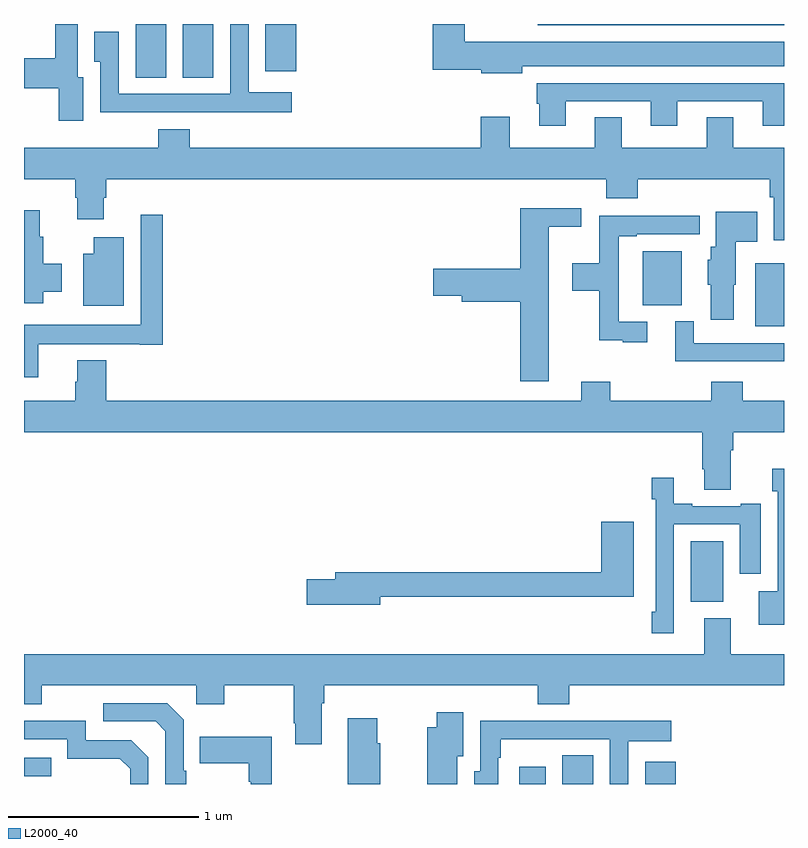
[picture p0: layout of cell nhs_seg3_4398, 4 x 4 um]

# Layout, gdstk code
import gdstk
lib = gdstk.Library(unit=1e-6, precision=1e-09)
def R(c, l, rs):  # rectangles x0, y0, x1, y1
    for r in rs: c.add(gdstk.rectangle(r[:2], r[2:], *l))
def P(c, l, *ps):  # polygons
    for p in ps: c.add(gdstk.Polygon(p, *l))
L2000_40 = (2000, 40)

nhs_seg3_4398 = lib.new_cell('nhs_seg3_4398')
R(nhs_seg3_4398, L2000_40, [(347.606,696.4,347.746,696.49), (347.834,696.4,347.995,696.551), (348.269,696.4,348.43,696.517), (345,696.441,345.143,696.537), (348.509,697.358,348.679,697.678), (348.848,698.81,349,699.142), (348.257,698.921,348.463,699.205), (345.587,700.117,345.748,700.4), (345.836,700.117,345.997,700.4), (346.271,700.152,346.432,700.4), (347.705,700.394,349,700.4)])
P(nhs_seg3_4398, L2000_40, [(345.623,699.936),(345.989,699.936),(345.989,699.935),(346.408,699.935),(346.408,700.042),(346.182,700.042),(346.182,700.4),(346.086,700.4),(346.086,700.032),(345.498,700.032),(345.498,700.36),(345.371,700.36),(345.371,700.201),(345.402,700.201),(345.402,699.935),(345.623,699.935)],
  [(345.313,700.119),(345.283,700.119),(345.283,700.4),(345.165,700.4),(345.165,700.221),(345,700.221),(345,700.061),(345.182,700.061),(345.182,699.891),(345.313,699.891)],
  [(347.623,700.178),(349,700.178),(349,700.306),(347.32,700.306),(347.32,700.4),(347.15,700.4),(347.15,700.16),(347.406,700.16),(347.406,700.142),(347.623,700.142)],
  [(347.851,699.993),(348.299,699.993),(348.299,699.864),(348.439,699.864),(348.439,699.993),(348.887,699.993),(348.887,699.864),(349,699.864),(349,700.089),(347.699,700.089),(347.699,699.981),(347.711,699.981),(347.711,699.864),(347.851,699.864)],
  [(349,699.748),(348.733,699.748),(348.733,699.908),(348.593,699.908),(348.593,699.748),(348.145,699.748),(348.145,699.908),(348.005,699.908),(348.005,699.748),(347.557,699.748),(347.557,699.913),(347.405,699.913),(347.405,699.748),(345.872,699.748),(345.872,699.847),(345.707,699.847),(345.707,699.748),(345,699.748),(345,699.584),(345.269,699.584),(345.269,699.486),(345.281,699.486),(345.281,699.372),(345.421,699.372),(345.421,699.486),(345.434,699.486),(345.434,699.584),(348.065,699.584),(348.065,699.482),(348.23,699.482),(348.23,699.584),(348.925,699.584),(348.925,699.488),(348.945,699.488),(348.945,699.261),(349,699.261)],
  [(347.761,699.332),(347.932,699.332),(347.932,699.43),(347.612,699.43),(347.612,699.111),(347.154,699.111),(347.154,698.969),(347.303,698.969),(347.303,698.939),(347.612,698.939),(347.612,698.52),(347.761,698.52)],
  [(345.1,698.99),(345.199,698.99),(345.199,699.138),(345.1,699.138),(345.1,699.279),(345.082,699.279),(345.082,699.421),(345,699.421),(345,698.931),(345.1,698.931)],
  [(348.736,699.027),(348.745,699.027),(348.745,699.254),(348.86,699.254),(348.86,699.412),(348.641,699.412),(348.641,699.228),(348.614,699.228),(348.614,699.159),(348.599,699.159),(348.599,699.027),(348.614,699.027),(348.614,698.844),(348.736,698.844)],
  [(345.074,698.714),(345.608,698.714),(345.608,698.712),(345.731,698.712),(345.731,699.397),(345.615,699.397),(345.615,698.818),(345,698.818),(345,698.54),(345.074,698.54)],
  [(348.28,698.832),(348.129,698.832),(348.129,699.282),(348.226,699.282),(348.226,699.294),(348.556,699.294),(348.556,699.392),(348.313,699.392),(348.313,699.39),(348.028,699.39),(348.028,699.142),(347.886,699.142),(347.886,698.995),(348.028,698.995),(348.028,698.735),(348.152,698.735),(348.152,698.724),(348.28,698.724)],
  [(345.526,699.277),(345.368,699.277),(345.368,699.19),(345.311,699.19),(345.311,698.918),(345.526,698.918)],
  [(349,698.721),(348.525,698.721),(348.525,698.836),(348.428,698.836),(348.428,698.625),(349,698.625)],
  [(348.721,698.156),(348.734,698.156),(348.734,698.252),(349,698.252),(349,698.416),(348.782,698.416),(348.782,698.518),(348.617,698.518),(348.617,698.416),(348.086,698.416),(348.086,698.518),(347.933,698.518),(347.933,698.416),(345.434,698.416),(345.434,698.629),(345.281,698.629),(345.281,698.517),(345.269,698.517),(345.269,698.416),(345,698.416),(345,698.252),(348.569,698.252),(348.569,698.056),(348.581,698.056),(348.581,697.948),(348.721,697.948)],
  [(349,698.059),(348.938,698.059),(348.938,697.941),(348.966,697.941),(348.966,697.414),(348.866,697.414),(348.866,697.238),(349,697.238)],
  [(348.42,697.767),(348.767,697.767),(348.767,697.506),(348.877,697.506),(348.877,697.876),(348.773,697.876),(348.773,697.863),(348.517,697.863),(348.517,697.876),(348.421,697.876),(348.421,698.011),(348.304,698.011),(348.304,697.898),(348.324,697.898),(348.324,697.306),(348.304,697.306),(348.304,697.194),(348.42,697.194)],
  [(346.876,697.386),(348.208,697.386),(348.208,697.78),(348.038,697.78),(348.038,697.514),(346.637,697.514),(346.637,697.478),(346.488,697.478),(346.488,697.343),(346.876,697.343)],
  [(346.567,696.824),(346.58,696.824),(346.58,696.92),(347.705,696.92),(347.705,696.821),(347.87,696.821),(347.87,696.92),(349,696.92),(349,697.084),(348.721,697.084),(348.721,697.273),(348.581,697.273),(348.581,697.084),(345,697.084),(345,696.821),(345.093,696.821),(345.093,696.92),(345.906,696.92),(345.906,696.821),(346.053,696.821),(346.053,696.92),(346.42,696.92),(346.42,696.721),(346.427,696.721),(346.427,696.609),(346.567,696.609)],
  [(345.853,696.469),(345.84,696.469),(345.84,696.738),(345.753,696.825),(345.417,696.825),(345.417,696.729),(345.693,696.729),(345.744,696.678),(345.744,696.4),(345.853,696.4)],
  [(347.281,696.545),(347.311,696.545),(347.311,696.778),(347.173,696.778),(347.173,696.7),(347.123,696.7),(347.123,696.4),(347.281,696.4)],
  [(346.876,696.615),(346.858,696.615),(346.858,696.745),(346.703,696.745),(346.703,696.4),(346.876,696.4)],
  [(347.496,696.539),(347.509,696.539),(347.509,696.635),(347.738,696.635),(347.738,696.636),(348.084,696.636),(348.084,696.4),(348.18,696.4),(348.18,696.626),(348.406,696.626),(348.406,696.734),(347.987,696.734),(347.987,696.732),(347.621,696.732),(347.621,696.734),(347.4,696.734),(347.4,696.468),(347.369,696.468),(347.369,696.4),(347.496,696.4)],
  [(345.654,696.54),(345.564,696.63),(345.324,696.63),(345.324,696.732),(345,696.732),(345,696.636),(345.228,696.636),(345.228,696.533),(345.505,696.533),(345.558,696.48),(345.558,696.4),(345.654,696.4)],
  [(346.303,696.649),(345.925,696.649),(345.925,696.509),(346.182,696.509),(346.182,696.413),(346.194,696.413),(346.194,696.4),(346.303,696.4)])

lib.write_gds('nhs_seg3_4398.gds')
